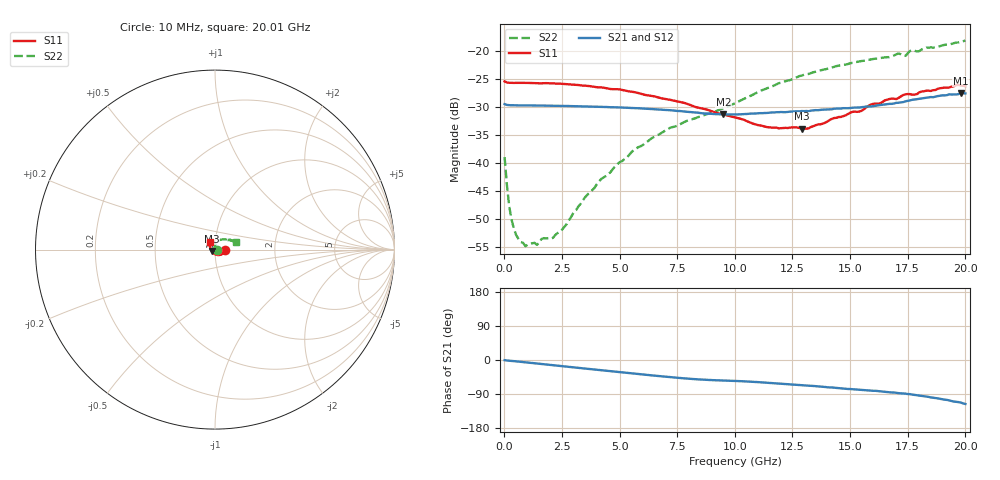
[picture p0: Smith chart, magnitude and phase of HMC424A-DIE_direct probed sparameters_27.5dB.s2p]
!s2p File: Measurements: S11, S21, S12, S22
# GHz S dB R 50.0
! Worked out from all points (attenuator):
!   201 points, 10 MHz to 20.01 GHz, reference 50 ohm
!   highest |S21| = -27.43 dB at 19.81 GHz (marker M1); lowest = -31.3 dB at 9.51 GHz (marker M2)
!   lowest |S11| = -33.9 dB at 12.91 GHz (marker M3), VSWR 1.04, Z = 48.2 - j0.788 ohm
!   |S11| at or under -10 dB: start of sweep to end of sweep
!   |S22| runs from -54.9 to -18.1 dB; largest |S21 - S12| = 0.0004
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0.01  -25.38 -0.1  -29.45 -0.4  -29.47 -0.1  -38.93 -8.1
0.11  -25.57 -1.5  -29.59 -1.3  -29.59 -1.3  -43.90 -38.2
0.21  -25.63 -1.9  -29.63 -1.8  -29.63 -1.8  -47.71 -40.7
0.31  -25.64 -2.3  -29.65 -2.4  -29.64 -2.3  -50.06 -35.7
0.51  -25.64 -3.4  -29.67 -3.6  -29.66 -3.5  -52.85 -21.8
0.91  -25.65 -5.8  -29.68 -6.0  -29.67 -6.1  -54.85 5.8
1.41  -25.70 -9.2  -29.70 -9.3  -29.70 -9.2  -54.60 30.5
1.71  -25.70 -11.3  -29.71 -11.2  -29.71 -11.2  -53.41 44.4
2.11  -25.75 -14.6  -29.74 -13.7  -29.73 -13.7  -53.36 57.9
2.71  -25.88 -18.9  -29.78 -17.6  -29.78 -17.5  -50.86 81.1
3.41  -26.13 -23.8  -29.84 -22.0  -29.84 -21.9  -46.63 95.2
4.91  -26.78 -36.0  -30.03 -31.4  -30.03 -31.4  -40.16 102.4
5.61  -27.28 -41.5  -30.15 -35.8  -30.15 -35.8  -37.68 100.8
6.71  -28.29 -51.7  -30.41 -42.4  -30.40 -42.4  -34.87 94.1
9.51  -31.25 -84.2  -31.30 -54.1  -31.29 -54.0  -30.18 81.9
10.01  -31.85 -91.8  -31.29 -55.3  -31.30 -55.3  -29.30 80.6
11.41  -33.56 -120.4  -31.02 -60.0  -31.01 -59.9  -26.61 73.4
12.91  -33.85 -156.2  -30.68 -66.7  -30.67 -66.6  -24.34 62.6
13.41  -33.40 -168.2  -30.57 -68.5  -30.57 -68.3  -23.74 58.8
16.71  -28.54 138.2  -29.40 -85.2  -29.37 -85.1  -21.04 36.8
19.81  -26.11 119.3  -27.43 -112.4  -27.44 -112.3  -18.32 20.3
20.01  -26.20 121.1  -27.54 -116.1  -27.52 -115.9  -18.06 19.2
